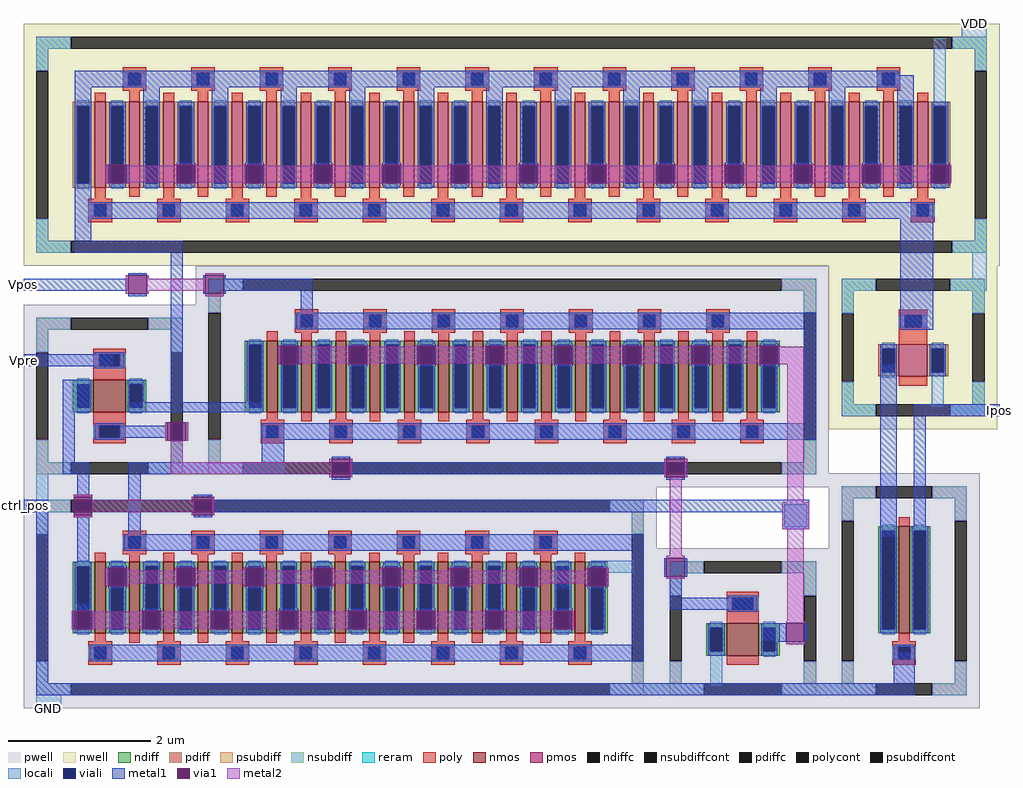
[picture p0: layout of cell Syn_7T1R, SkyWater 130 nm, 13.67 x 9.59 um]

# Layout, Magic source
magic
tech sky130A
magscale 1 2
<< locali >>
rect -910 3845 -876 4027
rect -832 3998 -762 4068
rect -802 3320 -762 3460
rect -916 2996 -882 3093
rect -3424 2725 -3390 2836
rect -3016 2806 -2940 2840
rect -1870 2530 -1754 2564
rect -3424 2150 -3354 2220
rect -1724 2186 -1648 2220
rect -1536 2215 -1502 2312
rect -1242 2186 -1166 2220
<< metal1 >>
rect -3316 3923 -1008 3936
rect -3316 3890 -966 3923
rect -3316 3842 -3270 3890
rect -3124 3846 -3078 3890
rect -2932 3845 -2886 3890
rect -2740 3844 -2694 3890
rect -2548 3841 -2502 3890
rect -2356 3841 -2310 3890
rect -2164 3840 -2118 3890
rect -1972 3844 -1926 3890
rect -1780 3845 -1734 3890
rect -1588 3847 -1542 3890
rect -1396 3846 -1350 3890
rect -1204 3844 -1158 3890
rect -1012 3846 -966 3890
rect -3031 3673 -2979 3679
rect -3229 3621 -3223 3673
rect -3171 3621 -3165 3673
rect -3316 3568 -3270 3621
rect -3214 3609 -3180 3621
rect -3031 3615 -2979 3621
rect -2839 3673 -2787 3679
rect -2839 3615 -2787 3621
rect -2647 3673 -2595 3679
rect -2647 3615 -2595 3621
rect -2455 3673 -2403 3679
rect -2455 3615 -2403 3621
rect -2263 3673 -2211 3679
rect -2263 3615 -2211 3621
rect -2071 3673 -2019 3679
rect -2071 3615 -2019 3621
rect -1879 3673 -1827 3679
rect -1879 3615 -1827 3621
rect -1687 3673 -1635 3679
rect -1687 3615 -1635 3621
rect -1495 3673 -1443 3679
rect -1495 3615 -1443 3621
rect -1303 3673 -1251 3679
rect -1303 3615 -1251 3621
rect -1111 3673 -1059 3679
rect -1111 3615 -1059 3621
rect -919 3673 -867 3679
rect -919 3615 -867 3621
rect -3316 3522 -912 3568
rect -3316 3460 -3270 3522
rect -3316 3426 -3014 3460
rect -3167 3363 -3115 3369
rect -3460 3320 -3167 3354
rect -3167 3305 -3115 3311
rect -3460 3108 -3209 3142
rect -3350 2980 -3270 3070
rect -3048 3008 -3014 3426
rect -2957 3311 -2951 3363
rect -2899 3354 -2893 3363
rect -2899 3320 -2650 3354
rect -2899 3311 -2893 3320
rect -2684 3258 -2650 3320
rect -2696 3212 -1240 3258
rect -2732 3166 -2698 3168
rect -2549 3166 -2497 3172
rect -2747 3114 -2741 3166
rect -2689 3114 -2683 3166
rect -2549 3108 -2497 3114
rect -2357 3166 -2305 3172
rect -2357 3108 -2305 3114
rect -2165 3166 -2113 3172
rect -2165 3108 -2113 3114
rect -1973 3166 -1921 3172
rect -1973 3108 -1921 3114
rect -1781 3166 -1729 3172
rect -1781 3108 -1729 3114
rect -1589 3166 -1537 3172
rect -1589 3108 -1537 3114
rect -1397 3166 -1345 3172
rect -1397 3108 -1345 3114
rect -3168 2980 -2794 3008
rect -3350 2840 -3316 2980
rect -3063 2942 -3057 2951
rect -3183 2908 -3057 2942
rect -3063 2899 -3057 2908
rect -3005 2899 -2999 2951
rect -1274 2948 -1240 3212
rect -1004 3211 -912 3522
rect -2792 2902 -1240 2948
rect -2792 2840 -2730 2902
rect -3350 2806 -3276 2840
rect -3310 2749 -3276 2806
rect -3166 2806 -2730 2840
rect -2597 2849 -2545 2855
rect -3319 2743 -3267 2749
rect -3460 2700 -3390 2734
rect -3424 2220 -3390 2700
rect -3319 2685 -3267 2691
rect -3310 2546 -3276 2685
rect -3166 2638 -3132 2806
rect -1659 2849 -1607 2855
rect -2545 2806 -1659 2840
rect -2597 2791 -2545 2797
rect -1659 2791 -1607 2797
rect -2983 2743 -2931 2749
rect -2931 2700 -1259 2734
rect -2983 2685 -2931 2691
rect -1335 2652 -1259 2700
rect -3178 2592 -1722 2638
rect -1060 2630 -1014 3113
rect -966 2968 -726 3002
rect -966 2658 -932 2968
rect -3214 2550 -3180 2554
rect -3223 2544 -3171 2550
rect -3223 2486 -3171 2492
rect -3031 2544 -2979 2550
rect -3031 2486 -2979 2492
rect -2839 2544 -2787 2550
rect -2839 2486 -2787 2492
rect -2647 2544 -2595 2550
rect -2647 2486 -2595 2492
rect -2455 2544 -2403 2550
rect -2455 2486 -2403 2492
rect -2263 2544 -2211 2550
rect -2263 2486 -2211 2492
rect -2071 2544 -2019 2550
rect -2071 2486 -2019 2492
rect -1966 2487 -1932 2548
rect -1879 2544 -1827 2550
rect -1879 2486 -1827 2492
rect -3316 2424 -3270 2443
rect -3127 2424 -3075 2430
rect -3325 2372 -3319 2424
rect -3267 2372 -3261 2424
rect -3316 2366 -3270 2372
rect -3127 2366 -3075 2372
rect -2935 2424 -2883 2430
rect -2935 2366 -2883 2372
rect -2743 2424 -2691 2430
rect -2743 2366 -2691 2372
rect -2551 2424 -2499 2430
rect -2551 2366 -2499 2372
rect -2359 2424 -2307 2430
rect -2359 2366 -2307 2372
rect -2167 2424 -2115 2430
rect -2167 2366 -2115 2372
rect -1975 2424 -1923 2430
rect -1975 2366 -1923 2372
rect -1756 2328 -1722 2592
rect -1665 2519 -1659 2571
rect -1607 2519 -1601 2571
rect -1650 2460 -1616 2519
rect -1650 2426 -1416 2460
rect -1360 2385 -1323 2388
rect -1388 2339 -1323 2385
rect -1360 2336 -1323 2339
rect -1271 2336 -1265 2388
rect -3274 2282 -1722 2328
rect -1022 2220 -964 2307
rect -3424 2186 -964 2220
<< via1 >>
rect -3223 3621 -3171 3673
rect -3031 3621 -2979 3673
rect -2839 3621 -2787 3673
rect -2647 3621 -2595 3673
rect -2455 3621 -2403 3673
rect -2263 3621 -2211 3673
rect -2071 3621 -2019 3673
rect -1879 3621 -1827 3673
rect -1687 3621 -1635 3673
rect -1495 3621 -1443 3673
rect -1303 3621 -1251 3673
rect -1111 3621 -1059 3673
rect -919 3621 -867 3673
rect -3167 3311 -3115 3363
rect -2951 3311 -2899 3363
rect -2741 3114 -2689 3166
rect -2549 3114 -2497 3166
rect -2357 3114 -2305 3166
rect -2165 3114 -2113 3166
rect -1973 3114 -1921 3166
rect -1781 3114 -1729 3166
rect -1589 3114 -1537 3166
rect -1397 3114 -1345 3166
rect -3057 2899 -3005 2951
rect -3319 2691 -3267 2743
rect -2597 2797 -2545 2849
rect -1659 2797 -1607 2849
rect -2983 2691 -2931 2743
rect -3223 2492 -3171 2544
rect -3031 2492 -2979 2544
rect -2839 2492 -2787 2544
rect -2647 2492 -2595 2544
rect -2455 2492 -2403 2544
rect -2263 2492 -2211 2544
rect -2071 2492 -2019 2544
rect -1879 2492 -1827 2544
rect -3319 2372 -3267 2424
rect -3127 2372 -3075 2424
rect -2935 2372 -2883 2424
rect -2743 2372 -2691 2424
rect -2551 2372 -2499 2424
rect -2359 2372 -2307 2424
rect -2167 2372 -2115 2424
rect -1975 2372 -1923 2424
rect -1659 2519 -1607 2571
rect -1323 2336 -1271 2388
<< metal2 >>
rect -3229 3621 -3223 3673
rect -3171 3670 -3165 3673
rect -3037 3670 -3031 3673
rect -3171 3624 -3031 3670
rect -3171 3621 -3165 3624
rect -3037 3621 -3031 3624
rect -2979 3670 -2973 3673
rect -2845 3670 -2839 3673
rect -2979 3624 -2839 3670
rect -2979 3621 -2973 3624
rect -2845 3621 -2839 3624
rect -2787 3670 -2781 3673
rect -2653 3670 -2647 3673
rect -2787 3624 -2647 3670
rect -2787 3621 -2781 3624
rect -2653 3621 -2647 3624
rect -2595 3670 -2589 3673
rect -2461 3670 -2455 3673
rect -2595 3624 -2455 3670
rect -2595 3621 -2589 3624
rect -2461 3621 -2455 3624
rect -2403 3670 -2397 3673
rect -2269 3670 -2263 3673
rect -2403 3624 -2263 3670
rect -2403 3621 -2397 3624
rect -2269 3621 -2263 3624
rect -2211 3670 -2205 3673
rect -2077 3670 -2071 3673
rect -2211 3624 -2071 3670
rect -2211 3621 -2205 3624
rect -2077 3621 -2071 3624
rect -2019 3670 -2013 3673
rect -1885 3670 -1879 3673
rect -2019 3624 -1879 3670
rect -2019 3621 -2013 3624
rect -1885 3621 -1879 3624
rect -1827 3670 -1821 3673
rect -1693 3670 -1687 3673
rect -1827 3624 -1687 3670
rect -1827 3621 -1821 3624
rect -1693 3621 -1687 3624
rect -1635 3670 -1629 3673
rect -1501 3670 -1495 3673
rect -1635 3624 -1495 3670
rect -1635 3621 -1629 3624
rect -1501 3621 -1495 3624
rect -1443 3670 -1437 3673
rect -1309 3670 -1303 3673
rect -1443 3624 -1303 3670
rect -1443 3621 -1437 3624
rect -1309 3621 -1303 3624
rect -1251 3670 -1245 3673
rect -1117 3670 -1111 3673
rect -1251 3624 -1111 3670
rect -1251 3621 -1245 3624
rect -1117 3621 -1111 3624
rect -1059 3670 -1053 3673
rect -925 3670 -919 3673
rect -1059 3624 -919 3670
rect -1059 3621 -1053 3624
rect -925 3621 -919 3624
rect -867 3621 -861 3673
rect -2951 3363 -2899 3369
rect -3173 3311 -3167 3363
rect -3115 3354 -3109 3363
rect -3115 3320 -2951 3354
rect -3115 3311 -3109 3320
rect -2951 3305 -2899 3311
rect -2747 3114 -2741 3166
rect -2689 3163 -2683 3166
rect -2555 3163 -2549 3166
rect -2689 3117 -2549 3163
rect -2689 3114 -2683 3117
rect -2555 3114 -2549 3117
rect -2497 3163 -2491 3166
rect -2363 3163 -2357 3166
rect -2497 3117 -2357 3163
rect -2497 3114 -2491 3117
rect -2363 3114 -2357 3117
rect -2305 3163 -2299 3166
rect -2171 3163 -2165 3166
rect -2305 3117 -2165 3163
rect -2305 3114 -2299 3117
rect -2171 3114 -2165 3117
rect -2113 3163 -2107 3166
rect -1979 3163 -1973 3166
rect -2113 3117 -1973 3163
rect -2113 3114 -2107 3117
rect -1979 3114 -1973 3117
rect -1921 3163 -1915 3166
rect -1787 3163 -1781 3166
rect -1921 3117 -1781 3163
rect -1921 3114 -1915 3117
rect -1787 3114 -1781 3117
rect -1729 3163 -1723 3166
rect -1595 3163 -1589 3166
rect -1729 3117 -1589 3163
rect -1729 3114 -1723 3117
rect -1595 3114 -1589 3117
rect -1537 3163 -1531 3166
rect -1403 3163 -1397 3166
rect -1537 3117 -1397 3163
rect -1537 3114 -1531 3117
rect -1403 3114 -1397 3117
rect -1345 3163 -1339 3166
rect -1345 3114 -1274 3163
rect -3063 2899 -3057 2951
rect -3005 2899 -2999 2951
rect -3048 2840 -3014 2899
rect -2603 2840 -2597 2849
rect -3048 2806 -2597 2840
rect -2603 2797 -2597 2806
rect -2545 2797 -2539 2849
rect -1665 2797 -1659 2849
rect -1607 2797 -1601 2849
rect -3319 2743 -3267 2749
rect -2989 2734 -2983 2743
rect -3267 2700 -2983 2734
rect -2989 2691 -2983 2700
rect -2931 2691 -2925 2743
rect -3319 2685 -3267 2691
rect -1650 2577 -1616 2797
rect -1320 2728 -1274 3114
rect -1335 2652 -1259 2728
rect -1659 2571 -1607 2577
rect -3229 2492 -3223 2544
rect -3171 2535 -3165 2544
rect -3037 2535 -3031 2544
rect -3171 2501 -3031 2535
rect -3171 2492 -3165 2501
rect -3037 2492 -3031 2501
rect -2979 2535 -2973 2544
rect -2845 2535 -2839 2544
rect -2979 2501 -2839 2535
rect -2979 2492 -2973 2501
rect -2845 2492 -2839 2501
rect -2787 2535 -2781 2544
rect -2653 2535 -2647 2544
rect -2787 2501 -2647 2535
rect -2787 2492 -2781 2501
rect -2653 2492 -2647 2501
rect -2595 2535 -2589 2544
rect -2461 2535 -2455 2544
rect -2595 2501 -2455 2535
rect -2595 2492 -2589 2501
rect -2461 2492 -2455 2501
rect -2403 2535 -2397 2544
rect -2269 2535 -2263 2544
rect -2403 2501 -2263 2535
rect -2403 2492 -2397 2501
rect -2269 2492 -2263 2501
rect -2211 2535 -2205 2544
rect -2077 2535 -2071 2544
rect -2211 2501 -2071 2535
rect -2211 2492 -2205 2501
rect -2077 2492 -2071 2501
rect -2019 2535 -2013 2544
rect -1885 2535 -1879 2544
rect -2019 2501 -1879 2535
rect -2019 2492 -2013 2501
rect -1885 2492 -1879 2501
rect -1827 2492 -1821 2544
rect -1659 2513 -1607 2519
rect -3325 2372 -3319 2424
rect -3267 2421 -3261 2424
rect -3133 2421 -3127 2424
rect -3267 2375 -3127 2421
rect -3267 2372 -3261 2375
rect -3133 2372 -3127 2375
rect -3075 2421 -3069 2424
rect -2941 2421 -2935 2424
rect -3075 2375 -2935 2421
rect -3075 2372 -3069 2375
rect -2941 2372 -2935 2375
rect -2883 2421 -2877 2424
rect -2749 2421 -2743 2424
rect -2883 2375 -2743 2421
rect -2883 2372 -2877 2375
rect -2749 2372 -2743 2375
rect -2691 2421 -2685 2424
rect -2557 2421 -2551 2424
rect -2691 2375 -2551 2421
rect -2691 2372 -2685 2375
rect -2557 2372 -2551 2375
rect -2499 2421 -2493 2424
rect -2365 2421 -2359 2424
rect -2499 2375 -2359 2421
rect -2499 2372 -2493 2375
rect -2365 2372 -2359 2375
rect -2307 2421 -2301 2424
rect -2173 2421 -2167 2424
rect -2307 2375 -2167 2421
rect -2307 2372 -2301 2375
rect -2173 2372 -2167 2375
rect -2115 2421 -2109 2424
rect -1981 2421 -1975 2424
rect -2115 2375 -1975 2421
rect -2115 2372 -2109 2375
rect -1981 2372 -1975 2375
rect -1923 2372 -1917 2424
rect -1320 2394 -1274 2652
rect -1323 2388 -1271 2394
rect -1323 2330 -1271 2336
use sky130_fd_pr__nfet_01v8_MT8PY5  sky130_fd_pr__nfet_01v8_MT8PY5_0
transform 1 0 -2573 0 1 2460
box -887 -310 887 310
use sky130_fd_pr__pfet_01v8_8D7YKK  sky130_fd_pr__pfet_01v8_8D7YKK_0
transform 1 0 -2093 0 1 3729
box -1367 -339 1367 339
use sky130_fd_pr_reram__reram_cell  sky130_fd_pr_reram__reram_cell_0
transform 1 0 -1297 0 1 2690
box -38 -38 38 38
use sky130_fd_pr__nfet_01v8_KJ9A5H  XM1
transform -1 0 -3219 0 1 3025
box -241 -255 241 255
use sky130_fd_pr__nfet_01v8_MT8PY5  XM3
transform 1 0 -2091 0 1 3080
box -887 -310 887 310
use sky130_fd_pr__nfet_01v8_P46M8Q  XM4
transform -1 0 -1445 0 1 2374
box -241 -224 241 224
use sky130_fd_pr__pfet_01v8_5M8GQ7  XM6
transform 1 0 -968 0 1 3161
box -236 -229 236 229
use sky130_fd_pr__nfet_01v8_84QSGM  XM7
transform 1 0 -993 0 1 2479
box -211 -329 211 329
<< labels >>
flabel metal1 s -726 2968 -726 3002 0 FreeSans 480 0 0 0 Ipos
port 24 nsew
flabel metal1 s -3460 3320 -3460 3354 0 FreeSans 480 0 0 0 Vpos
port 25 nsew
flabel metal1 s -3460 3108 -3460 3142 0 FreeSans 480 0 0 0 Vpre
port 26 nsew
flabel metal1 s -3460 2700 -3460 2734 0 FreeSans 480 0 0 0 ctrl_pos
port 27 nsew
flabel locali s -3424 2150 -3354 2150 0 FreeSans 480 0 0 0 GND
port 28 nsew
flabel locali s -832 4068 -762 4068 0 FreeSans 480 0 0 0 VDD
port 29 nsew
<< end >>

# cell sky130_fd_pr__nfet_01v8_MT8PY5: kit device sky130_fd_pr__nfet_01v8, w 1 l 0.15 m 1 nf 15 diffcov 100 polycov 100 guard 1 glc 1 grc 1 gtc 1 gbc 1 tbcov 100 rlcov 100 topc 1 botc 1 poverlap 0 doverlap 1 lmin 0.15 wmin 0.42 compatible {sky130_fd_pr__nfet_01v8 sky130_fd_pr__nfet_01v8_lvt sky130_fd_bs_flash__special_sonosfet_star sky130_fd_pr__nfet_g5v0d10v5 sky130_fd_pr__nfet_05v0_nvt sky130_fd_pr__nfet_03v3_nvt} full_metal 1 viasrc 100 viadrn 100 viagate 100 viagb 0 viagr 0 viagl 0 viagt 0

# cell sky130_fd_pr__pfet_01v8_8D7YKK: kit device sky130_fd_pr__pfet_01v8, w 1.2 l 0.15 m 1 nf 25 diffcov 100 polycov 100 guard 1 glc 1 grc 1 gtc 1 gbc 1 tbcov 100 rlcov 100 topc 1 botc 1 poverlap 0 doverlap 1 lmin 0.15 wmin 0.42 compatible {sky130_fd_pr__pfet_01v8 sky130_fd_pr__pfet_01v8_lvt sky130_fd_pr__pfet_01v8_hvt sky130_fd_pr__pfet_g5v0d10v5} full_metal 1 viasrc 100 viadrn 100 viagate 100 viagb 0 viagr 0 viagl 0 viagt 0

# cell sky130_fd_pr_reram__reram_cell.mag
magic
tech sky130A
<< metal1 >>
rect -16 -13 16 13
<< reram >>
rect -16 -16 16 16
<< labels >>
flabel metal2 s -13 -16 13 16 0 FreeSans 280 0 0 0 TE
port 0 nsew
flabel metal1 s -16 -13 16 13 0 FreeSans 280 0 0 0 BE
port 1 nsew
<< end >>

# cell sky130_fd_pr__nfet_01v8_KJ9A5H: kit device sky130_fd_pr__nfet_01v8, w 0.45 l 0.45 m 1 nf 1 diffcov 100 polycov 100 guard 1 glc 1 grc 1 gtc 1 gbc 1 tbcov 100 rlcov 100 topc 1 botc 1 poverlap 0 doverlap 1 lmin 0.15 wmin 0.42 compatible {sky130_fd_pr__nfet_01v8 sky130_fd_pr__nfet_01v8_lvt sky130_fd_bs_flash__special_sonosfet_star sky130_fd_pr__nfet_g5v0d10v5 sky130_fd_pr__nfet_05v0_nvt sky130_fd_pr__nfet_03v3_nvt} full_metal 1 viasrc 100 viadrn 100 viagate 100 viagb 0 viagr 0 viagl 0 viagt 0

# cell sky130_fd_pr__nfet_01v8_P46M8Q: kit device sky130_fd_pr__nfet_01v8, w 0.45 l 0.45 m 1 nf 1 diffcov 100 polycov 100 guard 1 glc 1 grc 1 gtc 1 gbc 1 tbcov 100 rlcov 100 topc 1 botc 0 poverlap 0 doverlap 1 lmin 0.15 wmin 0.42 compatible {sky130_fd_pr__nfet_01v8 sky130_fd_pr__nfet_01v8_lvt sky130_fd_bs_flash__special_sonosfet_star sky130_fd_pr__nfet_g5v0d10v5 sky130_fd_pr__nfet_05v0_nvt sky130_fd_pr__nfet_03v3_nvt} full_metal 1 viasrc 100 viadrn 100 viagate 100 viagb 0 viagr 0 viagl 0 viagt 0

# cell sky130_fd_pr__pfet_01v8_5M8GQ7: kit device sky130_fd_pr__pfet_01v8, w 0.45 l 0.4 m 1 nf 1 diffcov 100 polycov 100 guard 1 glc 1 grc 1 gtc 1 gbc 1 tbcov 100 rlcov 100 topc 1 botc 0 poverlap 0 doverlap 1 lmin 0.15 wmin 0.42 compatible {sky130_fd_pr__pfet_01v8 sky130_fd_pr__pfet_01v8_lvt sky130_fd_pr__pfet_01v8_hvt sky130_fd_pr__pfet_g5v0d10v5} full_metal 1 viasrc 100 viadrn 100 viagate 100 viagb 0 viagr 0 viagl 0 viagt 0

# cell sky130_fd_pr__nfet_01v8_84QSGM: kit device sky130_fd_pr__nfet_01v8, w 1.5 l 0.15 m 1 nf 1 diffcov 100 polycov 100 guard 1 glc 1 grc 1 gtc 1 gbc 1 tbcov 100 rlcov 100 topc 0 botc 1 poverlap 0 doverlap 1 lmin 0.15 wmin 0.42 compatible {sky130_fd_pr__nfet_01v8 sky130_fd_pr__nfet_01v8_lvt sky130_fd_bs_flash__special_sonosfet_star sky130_fd_pr__nfet_g5v0d10v5 sky130_fd_pr__nfet_05v0_nvt sky130_fd_pr__nfet_03v3_nvt} full_metal 1 viasrc 100 viadrn 100 viagate 100 viagb 0 viagr 0 viagl 0 viagt 0
